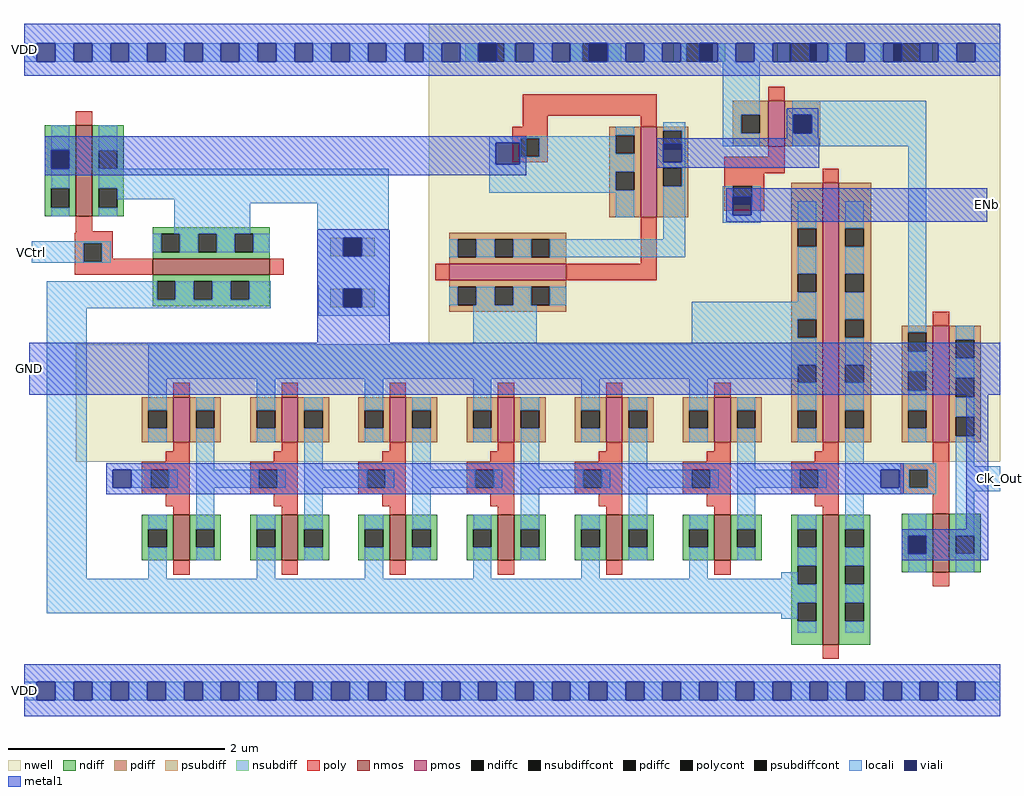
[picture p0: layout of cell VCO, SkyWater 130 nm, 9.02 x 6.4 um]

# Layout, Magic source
magic
tech sky130A
<< nwell >>
rect 374 344 902 640
rect 48 235 902 344
<< nmos >>
rect 48 462 63 546
rect 119 408 227 423
rect 138 144 153 186
rect 238 144 253 186
rect 338 144 353 186
rect 438 144 453 186
rect 538 144 553 186
rect 638 144 653 186
rect 738 66 753 186
rect 840 133 855 187
<< pmos >>
rect 570 461 585 545
rect 688 527 703 569
rect 393 403 501 418
rect 138 253 153 295
rect 238 253 253 295
rect 338 253 353 295
rect 438 253 453 295
rect 538 253 553 295
rect 638 253 653 295
rect 738 253 753 493
rect 840 253 855 361
<< ndiff >>
rect 19 524 48 546
rect 19 506 25 524
rect 42 506 48 524
rect 19 488 48 506
rect 19 470 25 488
rect 42 470 48 488
rect 19 462 48 470
rect 63 523 92 546
rect 63 506 69 523
rect 86 506 92 523
rect 63 488 92 506
rect 63 470 69 488
rect 86 470 92 488
rect 63 462 92 470
rect 119 446 227 452
rect 119 429 127 446
rect 144 429 161 446
rect 178 429 195 446
rect 212 429 227 446
rect 119 423 227 429
rect 119 402 227 408
rect 119 385 123 402
rect 140 385 157 402
rect 174 385 191 402
rect 208 385 227 402
rect 119 379 227 385
rect 109 173 138 186
rect 109 156 115 173
rect 132 156 138 173
rect 109 144 138 156
rect 153 173 182 186
rect 153 156 159 173
rect 176 156 182 173
rect 153 144 182 156
rect 209 173 238 186
rect 209 156 215 173
rect 232 156 238 173
rect 209 144 238 156
rect 253 173 282 186
rect 253 156 259 173
rect 276 156 282 173
rect 253 144 282 156
rect 309 173 338 186
rect 309 156 315 173
rect 332 156 338 173
rect 309 144 338 156
rect 353 173 382 186
rect 353 156 359 173
rect 376 156 382 173
rect 353 144 382 156
rect 409 173 438 186
rect 409 156 415 173
rect 432 156 438 173
rect 409 144 438 156
rect 453 173 482 186
rect 453 156 459 173
rect 476 156 482 173
rect 453 144 482 156
rect 509 173 538 186
rect 509 156 515 173
rect 532 156 538 173
rect 509 144 538 156
rect 553 173 582 186
rect 553 156 559 173
rect 576 156 582 173
rect 553 144 582 156
rect 609 173 638 186
rect 609 156 615 173
rect 632 156 638 173
rect 609 144 638 156
rect 653 173 682 186
rect 653 156 659 173
rect 676 156 682 173
rect 653 144 682 156
rect 709 173 738 186
rect 709 156 715 173
rect 732 156 738 173
rect 709 139 738 156
rect 709 122 715 139
rect 732 122 738 139
rect 709 105 738 122
rect 709 88 715 105
rect 732 88 738 105
rect 709 66 738 88
rect 753 173 782 186
rect 753 156 759 173
rect 776 156 782 173
rect 753 139 782 156
rect 753 122 759 139
rect 776 122 782 139
rect 811 167 840 187
rect 811 150 817 167
rect 834 150 840 167
rect 811 133 840 150
rect 855 167 884 187
rect 855 150 861 167
rect 878 150 884 167
rect 855 133 884 150
rect 753 105 782 122
rect 753 88 759 105
rect 776 88 782 105
rect 753 66 782 88
<< pdiff >>
rect 655 556 688 569
rect 541 537 570 545
rect 541 520 547 537
rect 564 520 570 537
rect 541 503 570 520
rect 541 486 547 503
rect 564 486 570 503
rect 541 461 570 486
rect 585 541 614 545
rect 585 524 591 541
rect 608 524 614 541
rect 655 539 663 556
rect 680 539 688 556
rect 655 527 688 539
rect 703 556 736 569
rect 703 539 711 556
rect 728 539 736 556
rect 703 527 736 539
rect 585 507 614 524
rect 585 490 591 507
rect 608 490 614 507
rect 585 461 614 490
rect 393 441 501 447
rect 393 424 401 441
rect 418 424 435 441
rect 452 424 469 441
rect 486 424 501 441
rect 393 418 501 424
rect 709 451 738 493
rect 709 434 715 451
rect 732 434 738 451
rect 709 409 738 434
rect 393 397 501 403
rect 393 380 401 397
rect 418 380 435 397
rect 452 380 469 397
rect 486 380 501 397
rect 393 374 501 380
rect 709 392 715 409
rect 732 392 738 409
rect 709 367 738 392
rect 709 350 715 367
rect 732 350 738 367
rect 709 325 738 350
rect 709 308 715 325
rect 732 308 738 325
rect 109 283 138 295
rect 109 266 115 283
rect 132 266 138 283
rect 109 253 138 266
rect 153 283 182 295
rect 153 266 159 283
rect 176 266 182 283
rect 153 253 182 266
rect 209 283 238 295
rect 209 266 215 283
rect 232 266 238 283
rect 209 253 238 266
rect 253 283 282 295
rect 253 266 259 283
rect 276 266 282 283
rect 253 253 282 266
rect 309 283 338 295
rect 309 266 315 283
rect 332 266 338 283
rect 309 253 338 266
rect 353 283 382 295
rect 353 266 359 283
rect 376 266 382 283
rect 353 253 382 266
rect 409 283 438 295
rect 409 266 415 283
rect 432 266 438 283
rect 409 253 438 266
rect 453 283 482 295
rect 453 266 459 283
rect 476 266 482 283
rect 453 253 482 266
rect 509 283 538 295
rect 509 266 515 283
rect 532 266 538 283
rect 509 253 538 266
rect 553 283 582 295
rect 553 266 559 283
rect 576 266 582 283
rect 553 253 582 266
rect 609 283 638 295
rect 609 266 615 283
rect 632 266 638 283
rect 609 253 638 266
rect 653 283 682 295
rect 653 266 659 283
rect 676 266 682 283
rect 653 253 682 266
rect 709 283 738 308
rect 709 266 715 283
rect 732 266 738 283
rect 709 253 738 266
rect 753 451 783 493
rect 753 434 759 451
rect 776 434 783 451
rect 753 409 783 434
rect 753 392 759 409
rect 776 392 783 409
rect 753 367 783 392
rect 753 350 759 367
rect 776 350 783 367
rect 753 325 783 350
rect 753 308 759 325
rect 776 308 783 325
rect 753 283 783 308
rect 753 266 759 283
rect 776 266 783 283
rect 753 253 783 266
rect 811 355 840 361
rect 811 337 817 355
rect 834 337 840 355
rect 811 319 840 337
rect 811 301 817 319
rect 834 301 840 319
rect 811 283 840 301
rect 811 266 817 283
rect 834 266 840 283
rect 811 253 840 266
rect 855 348 884 361
rect 855 331 861 348
rect 878 331 884 348
rect 855 313 884 331
rect 855 295 861 313
rect 878 295 884 313
rect 855 277 884 295
rect 855 259 861 277
rect 878 259 884 277
rect 855 253 884 259
<< ndiffc >>
rect 25 506 42 524
rect 25 470 42 488
rect 69 506 86 523
rect 69 470 86 488
rect 127 429 144 446
rect 161 429 178 446
rect 195 429 212 446
rect 123 385 140 402
rect 157 385 174 402
rect 191 385 208 402
rect 115 156 132 173
rect 159 156 176 173
rect 215 156 232 173
rect 259 156 276 173
rect 315 156 332 173
rect 359 156 376 173
rect 415 156 432 173
rect 459 156 476 173
rect 515 156 532 173
rect 559 156 576 173
rect 615 156 632 173
rect 659 156 676 173
rect 715 156 732 173
rect 715 122 732 139
rect 715 88 732 105
rect 759 156 776 173
rect 759 122 776 139
rect 817 150 834 167
rect 861 150 878 167
rect 759 88 776 105
<< pdiffc >>
rect 547 520 564 537
rect 547 486 564 503
rect 591 524 608 541
rect 663 539 680 556
rect 711 539 728 556
rect 591 490 608 507
rect 401 424 418 441
rect 435 424 452 441
rect 469 424 486 441
rect 715 434 732 451
rect 401 380 418 397
rect 435 380 452 397
rect 469 380 486 397
rect 715 392 732 409
rect 715 350 732 367
rect 715 308 732 325
rect 115 266 132 283
rect 159 266 176 283
rect 215 266 232 283
rect 259 266 276 283
rect 315 266 332 283
rect 359 266 376 283
rect 415 266 432 283
rect 459 266 476 283
rect 515 266 532 283
rect 559 266 576 283
rect 615 266 632 283
rect 659 266 676 283
rect 715 266 732 283
rect 759 434 776 451
rect 759 392 776 409
rect 759 350 776 367
rect 759 308 776 325
rect 759 266 776 283
rect 817 337 834 355
rect 817 301 834 319
rect 817 266 834 283
rect 861 331 878 348
rect 861 295 878 313
rect 861 259 878 277
<< psubdiff >>
rect 283 425 295 442
rect 312 425 324 442
rect 283 378 295 395
rect 312 378 324 395
<< nsubdiff >>
rect 408 605 420 622
rect 444 605 456 622
rect 504 605 516 622
rect 540 605 552 622
rect 600 605 612 622
rect 636 605 648 622
rect 696 605 708 622
rect 732 605 744 622
rect 792 605 804 622
rect 828 605 840 622
<< psubdiffcont >>
rect 295 425 312 442
rect 295 378 312 395
<< nsubdiffcont >>
rect 420 605 444 622
rect 516 605 540 622
rect 612 605 636 622
rect 708 605 732 622
rect 804 605 828 622
<< poly >>
rect 48 546 63 559
rect 461 555 585 575
rect 688 569 703 582
rect 461 545 484 555
rect 570 545 585 555
rect 451 534 484 545
rect 451 517 459 534
rect 476 517 484 534
rect 451 512 484 517
rect 48 448 63 462
rect 688 517 703 527
rect 647 502 703 517
rect 647 490 684 502
rect 738 493 753 506
rect 647 473 655 490
rect 673 473 684 490
rect 647 467 684 473
rect 48 447 82 448
rect 47 437 82 447
rect 47 420 55 437
rect 72 423 82 437
rect 72 420 119 423
rect 47 408 119 420
rect 227 408 240 423
rect 570 418 585 461
rect 380 403 393 418
rect 501 403 585 418
rect 138 295 153 308
rect 238 295 253 308
rect 338 295 353 308
rect 438 295 453 308
rect 538 295 553 308
rect 638 295 653 308
rect 840 361 855 374
rect 138 245 153 253
rect 238 245 253 253
rect 338 245 353 253
rect 438 245 453 253
rect 538 245 553 253
rect 638 245 653 253
rect 738 245 753 253
rect 131 235 153 245
rect 231 235 253 245
rect 331 235 353 245
rect 431 235 453 245
rect 531 235 553 245
rect 631 235 653 245
rect 731 235 753 245
rect 109 228 153 235
rect 109 211 117 228
rect 134 211 153 228
rect 109 205 153 211
rect 209 228 253 235
rect 209 211 217 228
rect 234 211 253 228
rect 209 205 253 211
rect 309 228 353 235
rect 309 211 317 228
rect 334 211 353 228
rect 309 205 353 211
rect 409 228 453 235
rect 409 211 417 228
rect 434 211 453 228
rect 409 205 453 211
rect 509 228 553 235
rect 509 211 517 228
rect 534 211 553 228
rect 509 205 553 211
rect 609 228 653 235
rect 609 211 617 228
rect 634 211 653 228
rect 609 205 653 211
rect 709 228 753 235
rect 840 234 855 253
rect 709 211 717 228
rect 734 211 753 228
rect 709 205 753 211
rect 810 228 855 234
rect 810 211 818 228
rect 835 211 855 228
rect 810 205 855 211
rect 131 194 153 205
rect 231 194 253 205
rect 331 194 353 205
rect 431 194 453 205
rect 531 194 553 205
rect 631 194 653 205
rect 731 194 753 205
rect 138 186 153 194
rect 238 186 253 194
rect 338 186 353 194
rect 438 186 453 194
rect 538 186 553 194
rect 638 186 653 194
rect 738 186 753 194
rect 840 187 855 205
rect 138 131 153 144
rect 238 131 253 144
rect 338 131 353 144
rect 438 131 453 144
rect 538 131 553 144
rect 638 131 653 144
rect 840 120 855 133
rect 738 53 753 66
<< polycont >>
rect 459 517 476 534
rect 655 473 673 490
rect 55 420 72 437
rect 117 211 134 228
rect 217 211 234 228
rect 317 211 334 228
rect 417 211 434 228
rect 517 211 534 228
rect 617 211 634 228
rect 717 211 734 228
rect 818 211 835 228
<< locali >>
rect 0 605 12 622
rect 29 605 46 622
rect 63 605 80 622
rect 97 605 114 622
rect 131 605 148 622
rect 165 605 182 622
rect 199 605 216 622
rect 233 605 250 622
rect 267 605 284 622
rect 301 605 318 622
rect 335 605 352 622
rect 369 605 386 622
rect 403 605 420 622
rect 444 605 454 622
rect 471 605 488 622
rect 505 605 516 622
rect 540 605 556 622
rect 573 605 590 622
rect 607 605 612 622
rect 641 605 658 622
rect 675 605 692 622
rect 743 605 760 622
rect 777 605 794 622
rect 845 605 862 622
rect 879 605 902 622
rect 646 556 680 605
rect 25 524 42 546
rect 25 488 42 506
rect 25 462 42 470
rect 69 523 86 546
rect 547 537 564 545
rect 430 534 547 536
rect 430 530 459 534
rect 430 510 436 530
rect 458 517 459 530
rect 476 520 547 534
rect 476 517 564 520
rect 458 510 564 517
rect 69 488 337 506
rect 86 478 337 488
rect 430 503 564 510
rect 430 486 547 503
rect 430 484 564 486
rect 69 462 86 470
rect 139 474 337 478
rect 139 446 209 474
rect 271 449 337 474
rect 547 461 564 484
rect 591 541 611 549
rect 608 512 611 541
rect 646 539 663 556
rect 646 527 680 539
rect 710 556 834 569
rect 710 539 711 556
rect 728 539 834 556
rect 710 527 834 539
rect 591 507 611 512
rect 608 490 611 507
rect 7 437 80 439
rect 7 420 55 437
rect 72 420 80 437
rect 119 429 127 446
rect 144 429 161 446
rect 178 429 195 446
rect 212 429 227 446
rect 271 442 338 449
rect 7 419 80 420
rect 271 425 295 442
rect 312 425 338 442
rect 591 441 611 490
rect 646 463 655 490
rect 673 473 681 490
rect 672 463 681 473
rect 646 456 681 463
rect 21 385 123 402
rect 140 385 157 402
rect 174 385 191 402
rect 208 385 228 402
rect 271 399 338 425
rect 393 424 401 441
rect 418 424 435 441
rect 452 424 469 441
rect 486 424 611 441
rect 715 451 732 476
rect 715 409 732 434
rect 21 377 228 385
rect 272 395 337 399
rect 272 378 295 395
rect 312 378 337 395
rect 393 380 401 397
rect 418 380 435 397
rect 452 380 469 397
rect 486 380 501 397
rect 715 383 732 392
rect 21 127 58 377
rect 272 370 337 378
rect 415 344 474 380
rect 617 367 732 383
rect 617 350 715 367
rect 617 344 732 350
rect 115 325 732 344
rect 115 312 715 325
rect 115 283 132 312
rect 115 253 132 266
rect 159 283 176 295
rect 159 228 176 266
rect 215 283 232 312
rect 215 253 232 266
rect 259 283 276 295
rect 259 228 276 266
rect 315 283 332 312
rect 315 253 332 266
rect 359 283 376 295
rect 359 228 376 266
rect 415 283 432 312
rect 415 253 432 266
rect 459 283 476 295
rect 459 228 476 266
rect 515 283 532 312
rect 515 253 532 266
rect 559 283 576 295
rect 559 228 576 266
rect 615 283 632 312
rect 615 253 632 266
rect 659 283 676 295
rect 659 228 676 266
rect 715 283 732 308
rect 715 253 732 266
rect 759 451 776 476
rect 759 409 776 434
rect 759 367 776 392
rect 759 325 776 350
rect 759 283 776 308
rect 759 234 776 266
rect 817 355 834 527
rect 817 319 834 337
rect 817 283 834 301
rect 817 253 834 266
rect 861 348 878 361
rect 861 313 878 331
rect 861 277 878 295
rect 759 228 843 234
rect 99 211 117 228
rect 134 211 142 228
rect 159 211 217 228
rect 234 211 242 228
rect 259 211 317 228
rect 334 211 342 228
rect 359 211 417 228
rect 434 211 442 228
rect 459 211 517 228
rect 534 211 542 228
rect 559 211 617 228
rect 634 211 642 228
rect 659 211 717 228
rect 734 211 742 228
rect 759 211 792 228
rect 809 211 818 228
rect 835 211 843 228
rect 115 173 132 186
rect 115 127 132 156
rect 159 173 176 211
rect 159 144 176 156
rect 215 173 232 186
rect 215 127 232 156
rect 259 173 276 211
rect 259 144 276 156
rect 315 173 332 186
rect 315 127 332 156
rect 359 173 376 211
rect 359 144 376 156
rect 415 173 432 186
rect 415 127 432 156
rect 459 173 476 211
rect 459 144 476 156
rect 515 173 532 186
rect 515 127 532 156
rect 559 173 576 211
rect 559 144 576 156
rect 615 173 632 186
rect 615 127 632 156
rect 659 173 676 211
rect 759 205 843 211
rect 861 231 878 259
rect 861 208 902 231
rect 659 144 676 156
rect 715 173 732 186
rect 715 139 732 156
rect 700 127 715 133
rect 21 122 715 127
rect 21 105 732 122
rect 21 95 715 105
rect 700 90 715 95
rect 715 77 732 88
rect 759 173 776 205
rect 759 139 776 156
rect 817 167 834 187
rect 817 133 834 150
rect 861 167 878 208
rect 861 133 878 150
rect 759 105 776 122
rect 759 77 776 88
rect 0 15 12 32
rect 29 15 46 32
rect 63 15 80 32
rect 97 15 114 32
rect 131 15 148 32
rect 165 15 182 32
rect 199 15 216 32
rect 233 15 250 32
rect 267 15 284 32
rect 301 15 318 32
rect 335 15 352 32
rect 369 15 386 32
rect 403 15 420 32
rect 437 15 454 32
rect 471 15 488 32
rect 505 15 522 32
rect 539 15 556 32
rect 573 15 590 32
rect 607 15 624 32
rect 641 15 658 32
rect 675 15 692 32
rect 709 15 726 32
rect 743 15 760 32
rect 777 15 794 32
rect 811 15 828 32
rect 845 15 862 32
rect 879 15 902 32
<< viali >>
rect 12 605 29 622
rect 46 605 63 622
rect 80 605 97 622
rect 114 605 131 622
rect 148 605 165 622
rect 182 605 199 622
rect 216 605 233 622
rect 250 605 267 622
rect 284 605 301 622
rect 318 605 335 622
rect 352 605 369 622
rect 386 605 403 622
rect 420 605 437 622
rect 454 605 471 622
rect 488 605 505 622
rect 522 605 539 622
rect 556 605 573 622
rect 590 605 607 622
rect 624 605 636 622
rect 636 605 641 622
rect 658 605 675 622
rect 692 605 708 622
rect 708 605 709 622
rect 726 605 732 622
rect 732 605 743 622
rect 760 605 777 622
rect 794 605 804 622
rect 804 605 811 622
rect 828 605 845 622
rect 862 605 879 622
rect 25 506 42 523
rect 436 510 458 530
rect 591 524 608 529
rect 591 512 608 524
rect 711 539 728 556
rect 295 425 312 442
rect 655 473 672 480
rect 655 463 672 473
rect 295 378 312 395
rect 82 211 99 228
rect 792 211 809 228
rect 817 150 834 167
rect 12 15 29 32
rect 46 15 63 32
rect 80 15 97 32
rect 114 15 131 32
rect 148 15 165 32
rect 182 15 199 32
rect 216 15 233 32
rect 250 15 267 32
rect 284 15 301 32
rect 318 15 335 32
rect 352 15 369 32
rect 386 15 403 32
rect 420 15 437 32
rect 454 15 471 32
rect 488 15 505 32
rect 522 15 539 32
rect 556 15 573 32
rect 590 15 607 32
rect 624 15 641 32
rect 658 15 675 32
rect 692 15 709 32
rect 726 15 743 32
rect 760 15 777 32
rect 794 15 811 32
rect 828 15 845 32
rect 862 15 879 32
<< metal1 >>
rect 0 622 902 640
rect 0 605 12 622
rect 29 605 46 622
rect 63 605 80 622
rect 97 605 114 622
rect 131 605 148 622
rect 165 605 182 622
rect 199 605 216 622
rect 233 605 250 622
rect 267 605 284 622
rect 301 605 318 622
rect 335 605 352 622
rect 369 605 386 622
rect 403 605 420 622
rect 437 605 454 622
rect 471 605 488 622
rect 505 605 522 622
rect 539 605 556 622
rect 573 605 590 622
rect 607 605 624 622
rect 641 605 658 622
rect 675 605 692 622
rect 709 605 726 622
rect 743 605 760 622
rect 777 605 794 622
rect 811 605 828 622
rect 845 605 862 622
rect 879 605 902 622
rect 0 592 902 605
rect 705 556 734 562
rect 705 539 711 556
rect 728 539 734 556
rect 19 530 464 536
rect 705 534 734 539
rect 19 523 436 530
rect 19 506 25 523
rect 42 510 436 523
rect 458 510 464 530
rect 42 506 464 510
rect 585 529 735 534
rect 585 512 591 529
rect 608 512 735 529
rect 585 507 735 512
rect 19 500 464 506
rect 649 480 890 488
rect 649 463 655 480
rect 672 463 890 480
rect 649 457 890 463
rect 272 449 337 450
rect 271 442 338 449
rect 271 425 295 442
rect 312 425 338 442
rect 271 395 338 425
rect 271 378 295 395
rect 312 378 338 395
rect 271 345 338 378
rect 5 297 902 345
rect 76 228 813 234
rect 76 211 82 228
rect 99 211 792 228
rect 809 211 813 228
rect 76 206 813 211
rect 76 205 812 206
rect 871 173 891 297
rect 811 167 891 173
rect 811 150 817 167
rect 834 150 891 167
rect 811 144 891 150
rect 0 32 902 48
rect 0 15 12 32
rect 29 15 46 32
rect 63 15 80 32
rect 97 15 114 32
rect 131 15 148 32
rect 165 15 182 32
rect 199 15 216 32
rect 233 15 250 32
rect 267 15 284 32
rect 301 15 318 32
rect 335 15 352 32
rect 369 15 386 32
rect 403 15 420 32
rect 437 15 454 32
rect 471 15 488 32
rect 505 15 522 32
rect 539 15 556 32
rect 573 15 590 32
rect 607 15 624 32
rect 641 15 658 32
rect 675 15 692 32
rect 709 15 726 32
rect 743 15 760 32
rect 777 15 794 32
rect 811 15 828 32
rect 845 15 862 32
rect 879 15 902 32
rect 0 0 902 15
<< labels >>
rlabel locali 902 208 902 231 7 Clk_Out
port 5 w signal output
rlabel metal1 0 0 0 48 3 VDD
port 3 e power bidirectional
rlabel metal1 5 297 5 345 3 GND
port 4 e ground bidirectional
rlabel metal1 0 592 0 640 3 VDD
port 3 e power bidirectional
rlabel locali 7 419 7 439 3 VCtrl
port 2 e signal input
rlabel metal1 890 457 890 488 1 ENb
port 6 n signal input
<< properties >>
string LEFsite unithddb1
string LEFclass CORE
<< end >>
